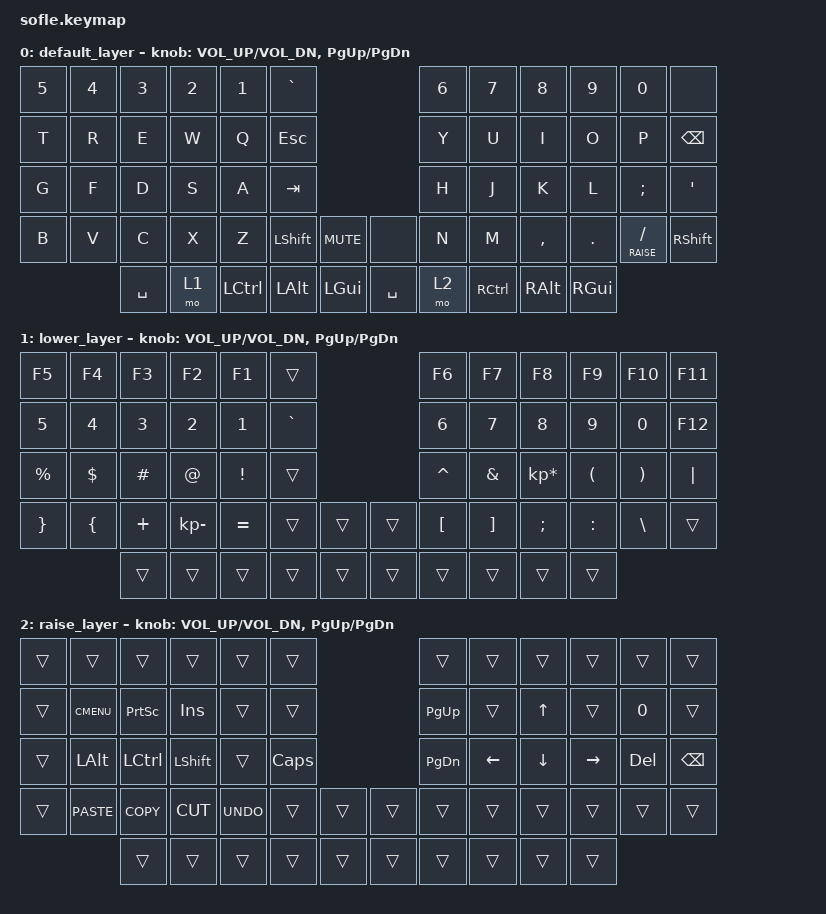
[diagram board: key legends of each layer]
/*
 * Copyright (c) 2020-2022 The ZMK Contributors
 *
 * SPDX-License-Identifier: MIT
 */

#include <behaviors.dtsi>
#include <dt-bindings/zmk/keys.h>
#include <dt-bindings/zmk/bt.h>

/ {
    keymap {
        compatible = "zmk,keymap";

        default_layer {
// ------------------------------------------------------------------------------------------------------------
// |  `    |  1  |  2  |  3   |  4   |  5   |                   |  6   |  7    |  8    |  9   |   0   |       |
// |  ESC  |  Q  |  W  |  E   |  R   |  T   |                   |  Y   |  U    |  I    |  O   |   P   | BKSPC |
// |  TAB  |  A  |  S  |  D   |  F   |  G   |                   |  H   |  J    |  K    |  L   |   ;   |   '   |
// | SHIFT |  Z  |  X  |  C   |  V   |  B   |  MUTE  |  |       |  N   |  M    |  ,    |  .   |   /   | SHIFT |
//               | GUI | ALT  | CTRL | LOWER|  ENTER |  | SPACE | RAISE| CTRL  | ALT   | GUI  |
            bindings = <
&kp N5 &kp N4 &kp N3   &kp N2   &kp N1    &kp GRAVE                      &kp N6 &kp N7    &kp N8    &kp N9   &kp N0   &none
&kp T   &kp R  &kp E    &kp W    &kp Q     &kp ESC                       &kp Y  &kp U     &kp I     &kp O    &kp P    &kp BSPC
&kp G   &kp F  &kp D    &kp S    &kp A     &kp TAB                       &kp H  &kp J     &kp K     &kp L    &kp SEMI &kp SQT
&kp B   &kp V  &kp C  &kp X  &kp Z   &kp LSHFT  &kp C_MUTE &none     &kp N  &kp M     &kp COMMA &kp DOT  &lt RAISE FSLH &kp RSHFT
                 &kp SPACE &mo 1 &kp LCTRL &kp LALT  &kp LGUI    &kp SPACE &mo 2  &kp RCTRL &kp RALT  &kp RGUI
            >;

            sensor-bindings = <&inc_dec_kp C_VOL_UP C_VOL_DN &inc_dec_kp PG_UP PG_DN>;
        };

        lower_layer {
// ------------------------------------------------------------------------------------------------------------
// |       |  F1 |  F2 |  F3  |  F4  |  F5  |                   |  F6  |  F7   |  F8   |  F9  |  F10  |  F11  |
// | `     |   1 |   2 |   3  |   4  |   5  |                   |   6  |   7   |   8   |   9  |    0  |  F12  |
// |       |  !  |  @  |  #   |  $   |  %   |                   |  ^   |  &    |  *    |  (   |   )   |   |   |
// |       |  =  |  -  |  +   |  {   |  }   |        |  |       |  [   |  ]    |  ;    |  :   |   \   |       |
//               |     |      |      |      |        |  |       |      |       |       |      |
            bindings = <
&kp F5    &kp F4    &kp F3    &kp F2      &kp F1    &trans                    &kp F6    &kp F7   &kp F8          &kp F9    &kp F10   &kp F11
&kp 5 &kp N4    &kp N3    &kp N2      &kp N1    &kp GRAVE                    &kp N6    &kp N7   &kp N8          &kp N9    &kp N0    &kp F12
&kp PRCNT    &kp DLLR  &kp HASH    &kp AT    &kp EXCL  &trans                 &kp CARET &kp AMPS &kp KP_MULTIPLY &kp LPAR  &kp RPAR  &kp PIPE
&kp RBRC    &kp LBRC &kp PLUS &kp KP_MINUS &kp EQUAL  &trans  &trans   &trans &kp LBKT  &kp RBKT &kp SEMI        &kp COLON &kp BSLH  &trans
                    &trans    &trans      &trans    &trans    &trans   &trans &trans    &trans   &trans          &trans
            >;

            sensor-bindings = <&inc_dec_kp C_VOL_UP C_VOL_DN &inc_dec_kp PG_UP PG_DN>;
        };

        raise_layer {
// ------------------------------------------------------------------------------------------------------------
// |BTCLR| BT1  | BT2  |  BT3  |  BT4  |  BT5 |                |      |      |       |      |       |       |
// |     | INS  | PSCR | GUI   |       |      |                | PGUP |      |   ^   |      |       |       |
// |     | ALT  | CTRL | SHIFT |       | CAPS |                | PGDN |   <- |   v   |  ->  |  DEL  | BKSPC |
// |     | UNDO | CUT  | COPY  | PASTE |      |      |  |      |      |      |       |      |       |       |
//              |      |       |       |      |      |  |      |      |      |       |      |
            bindings = <
&trans &trans &trans &trans &trans &trans             &trans    &trans    &trans   &trans    &trans  &trans
&trans     &kp K_CMENU    &kp PSCRN    &kp INS  &trans       &trans                   &kp PG_UP &trans    &kp UP   &trans    &kp N0  &trans
&trans     &kp LALT     &kp LCTRL    &kp LSHFT    &trans       &kp CLCK                 &kp PG_DN &kp LEFT  &kp DOWN &kp RIGHT &kp DEL &kp BSPC
&trans     &kp K_PASTE   &kp K_COPY    &kp K_CUT   &kp K_UNDO  &trans  &trans   &trans  &trans    &trans    &trans   &trans    &trans  &trans
                        &trans       &trans       &trans       &trans  &trans   &trans  &trans    &trans    &trans   &trans
            >;

            sensor-bindings = <&inc_dec_kp C_VOL_UP C_VOL_DN &inc_dec_kp PG_UP PG_DN>;
        };
    };
};
